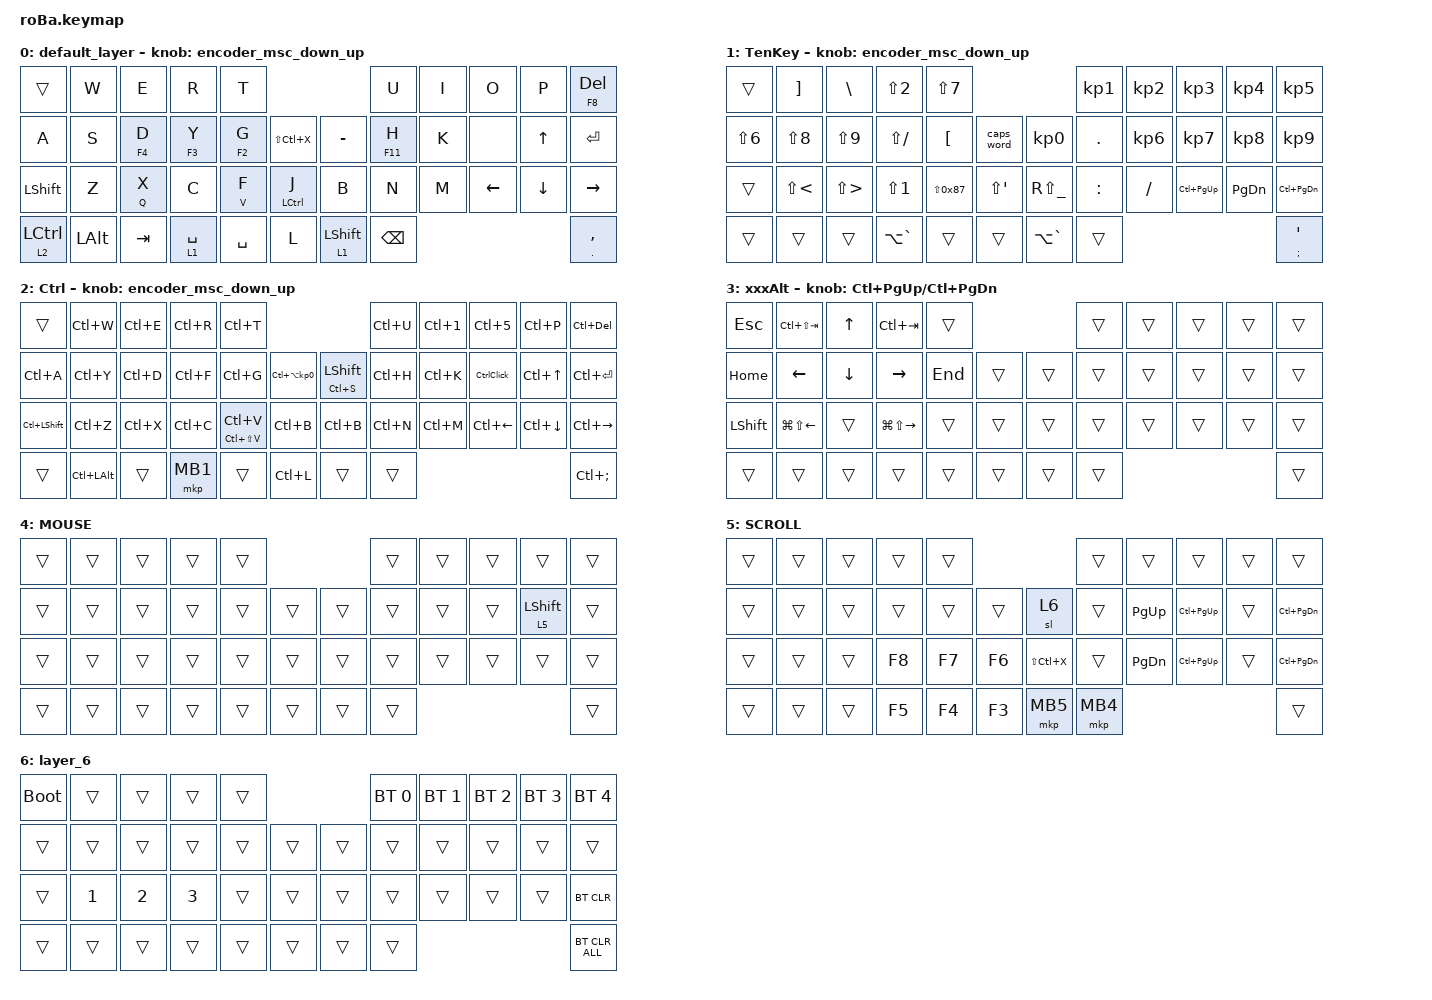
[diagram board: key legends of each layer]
// #includeのあとのあたりにスクロール量変更の定義を追記

#define ZMK_POINTING_DEFAULT_SCRL_VAL 80

// OS設定を日本語キーボードのまま使用するための変換定義

#define JP_DQUOTE       AT                // "
#define JP_AMPERSAND    CARET             // &
#define JP_QUOTE        AMPERSAND         // '
#define JP_EQUAL        UNDER             // =
#define JP_CARET        EQUAL             // ^
#define JP_YEN          0x89              // ¥
#define JP_PLUS         COLON             // +
#define JP_TILDE        PLUS              // ~
#define JP_PIPE         LS(0x89)          // |
#define JP_AT           LEFT_BRACKET      // @
#define JP_COLON        SINGLE_QUOTE      // :
#define JP_ASTERISK     DOUBLE_QUOTES     // *
#define JP_BACKQUOTE    LEFT_BRACE        // `
#define JP_UNDERSCORE   LS(0x87)          // _
#define JP_LBRACKET     RIGHT_BRACKET     // [
#define JP_RBRACKET     BACKSLASH         // ]
#define JP_LPAREN       ASTERISK          // (
#define JP_RPAREN       LEFT_PARENTHESIS  // )
#define JP_LBRACE       RIGHT_BRACE       // {
#define JP_RBRACE       PIPE              // }
#define JP_KANA         LANGUAGE_1        // かな
#define JP_EISU         LANGUAGE_2        // 英数
#define JP_HANZEN       GRAVE             // 半角/全角

// AutoMouseLayer改修(20251005)

#include <input/processors.dtsi>
#include <behaviors.dtsi>
#include <dt-bindings/zmk/bt.h>
#include <dt-bindings/zmk/keys.h>
#include <dt-bindings/zmk/pointing.h>

&mkp_input_listener { input-processors = <&zip_temp_layer 4 18000>; };//クリック後のAML滞在時間

&mt {
    flavor = "balanced";
    quick-tap-ms = <0>;
    tapping-term-ms = <600>;//長押し時間判定時間
};

&trackball {
    //automouse-layer = <4>;

    scroll-layers = <5>;

    // arrows {
    //     layers = <3>;
    //     bindings =
    //         <&kp RIGHT_ARROW>,
    //         <&kp LEFT_ARROW>,
    //         <&kp UP_ARROW>,
    //         <&kp DOWN_ARROW>;
    //     tick = <10>;
    //     wait-ms = <5>;
    //     tap-ms = <5>;
    // };
};

/ {
    combos {
        //Key番号：0,10,22,34,
        //combo名1文字はBuildエラーになる
        compatible = "zmk,combos";
        Escape {
            bindings = <&kp ESCAPE>;
            key-positions = <0>;
            require-prior-idle-ms = <500>;//直前キー押下からxx ms以内では発動無効
        };
        Click {
            bindings = <&mkp MB1>;
            key-positions = <19>;
            require-prior-idle-ms = <500>;//直前キー押下からxx ms以内では発動無効
            layers = <0>;
        };
        //LangChange {
        //    bindings = <&kp LA(GRAVE)>;
        //    key-positions = <2 10>;
        //};
        ComF1 {
            bindings = <&kp F1>;
            key-positions = <9 42>;
        };
        ComF6 {
            bindings = <&kp F6>;
            key-positions = <0 2>;
        };
        ComF7 {
            bindings = <&kp F7>;
            key-positions = <0 3>;
        };
        ComF10 {
            bindings = <&kp F10>;
            key-positions = <0 1>;
        };
        ComF5 {
            bindings = <&kp F5>;
            key-positions = <0 11>;
        };
        //ComF4 {//なぜか動かない
        //    bindings = <&kp F4>;
        //    key-positions = <0 12>;
        //};
        //ComF3 {//なぜか動かない
        //    bindings = <&kp F3>;
        //    key-positions = <0 13>;
        //};
        ComAltF4 {
            bindings = <&kp LA(F4)>;
            key-positions = <1 35>;
        };

        PrintSC1 {
            bindings = <&kp LS(LG(S))>;
            key-positions = <16 17>;
        };

        AltPrintSC {
            bindings = <&kp LA(PRINTSCREEN)>;
            key-positions = <16 28>;
        };
        Save {
            bindings = <&kp LC(S)>;
            key-positions = <16 41>;
        };

        //CtrlLeftClick {
        //    bindings = <&CtrlClick>;
        //    layers = <2>;
        //    key-positions = <19>;
        //};
        RightClick {
            bindings = <&mkp MB2>;
            key-positions = <20 21>;
        };
        Win {
            bindings = <&kp LEFT_GUI>;
            key-positions = <37 39>;
        };
        WinD {
            bindings = <&kp LG(D)>;
            key-positions = <37 38 39>;
        };
        WinLock {
            bindings = <&kp LG(L)>;
            key-positions = <27 37 39>;
        };
        Pw1 {
            bindings = <&pw1>;
            key-positions = <5 9>;
        };
        UPw2 {
            bindings = <&upw2>;
            key-positions = <11 13>;
        };
        Pw2 {
            bindings = <&pw2>;
            key-positions = <11 14>;
        };
        UPw3 {
            bindings = <&upw3>;
            key-positions = <23 25>;
        };
        Pw3 {
            bindings = <&pw3>;
            key-positions = <23 26>;
        };
        SCWM {
            bindings = <&scwm>;
            key-positions = <28 30>;
        };
        SE16N {
            bindings = <&se16n>;
            key-positions = <28 29 30>;
        };
        AutoPic {
            bindings = <&autoPic>;
            key-positions = <16 17 18>;
        };
        ShiftF12 {
            bindings = <&shiftF12>;
            key-positions = <7 9>;
        };

        //Amuhennkann {
        //    bindings = <&to_layer_0 INT_MUHENKAN>;
        //    key-positions = <11 10>;
        //};
        //ShortTapF5 {
        //    bindings = <&kp F5>;
        //    key-positions = <11 36>;
        //};
    };

    macros {
        to_layer_0: to_layer_0 {
            compatible = "zmk,behavior-macro-one-param";
            #binding-cells = <1>;
            bindings = <&to 0 &macro_param_1to1 &kp MACRO_PLACEHOLDER>;
            label = "TO_LAYER_0";
        };

        pw1: pw1 {
            compatible = "zmk,behavior-macro";
            #binding-cells = <0>;
            bindings = <&none &kp BACKSPACE &kp LS(B) &kp E &kp N &kp G &kp N9 &kp N5 &kp N4 &kp N3 &kp MINUS &kp N1 &kp N1 &kp N1 &kp ENTER>;
            label = "PW1";
        };

        pw2: pw2 {
            compatible = "zmk,behavior-macro";
            #binding-cells = <0>;
            bindings = <&none &kp BACKSPACE &kp K &kp K &kp C &kp MINUS &kp JP_AT &kp N9 &kp N5 &kp N4 &kp N3 &kp ENTER>;
            label = "PW2";
        };

        pw3: pw3 {
            compatible = "zmk,behavior-macro";
            #binding-cells = <0>;
            bindings = <&none &kp BACKSPACE &kp LS(W) &kp A &kp X &kp LS(B) &kp E &kp N &kp G &kp N9 &kp N5 &kp N4 &kp N3 &kp MINUS &kp N1 &kp N1 &kp N1 &kp ENTER>;
            label = "PW3";
        };
        upw2: upw2 {
            compatible = "zmk,behavior-macro";
            #binding-cells = <0>;
            bindings = <&none &kp BACKSPACE &kp B &kp N1 &kp N7 &kp N7 &kp N8 &kp N0 &kp TAB &kp K &kp K &kp C &kp MINUS &kp JP_AT &kp N9 &kp N5 &kp N4 &kp N3 &kp ENTER>;
            label = "UPW2";
        };

        upw3: upw3 {
            compatible = "zmk,behavior-macro";
            #binding-cells = <0>;
            bindings = <&none &kp BACKSPACE &kp K &kp I &kp K &kp U &kp C &kp H &kp H &kp N4 &kp TAB &kp LS(W) &kp A &kp X &kp LS(B) &kp E &kp N &kp G &kp N9 &kp N5 &kp N4 &kp N3 &kp MINUS &kp N1 &kp N1 &kp N1 &kp ENTER>;
            label = "UPW3";
        };
        scwm: scwm {
            compatible = "zmk,behavior-macro";
            #binding-cells = <0>;
            bindings = <&none &kp SLASH &kp N &kp SLASH &kp S &kp C &kp W &kp M &kp SLASH>;
            label = "scwm";
        };
        se16n: se16n {
            compatible = "zmk,behavior-macro";
            #binding-cells = <0>;
            bindings = <&none &kp SLASH &kp O &kp S &kp E &kp N1 &kp N6 &kp N &kp ENTER>;
            label = "se16n";
        };
        autoPic: autoPic {
            compatible = "zmk,behavior-macro";
            #binding-cells = <0>;
            bindings = <&none &sk LEFT_ALT &kp PRINTSCREEN &none &none &none &sk LEFT_ALT &kp TAB &none &none &none &none &kp LC(V) &none &none &none &none &none &kp ESCAPE &none &none &none &none &none &kp PAGE_DOWN &none &none &none &none &sk LEFT_ALT &kp TAB>;
            label = "autoPic";
        };
        CtrlClick: CtrlClick {
            compatible = "zmk,behavior-macro";
            #binding-cells = <0>;
            bindings = <&none &sk LEFT_CONTROL &mkp MB1>;
            label = "CtrlClick";
        };
        shiftF12: shiftF12 {
            compatible = "zmk,behavior-macro";
            #binding-cells = <0>;
            bindings = <&none &kp LS(F12) &none &none &none &none &none &none &none &none &none &none &none &none &kp F8>;
            label = "shiftF12";
        };
    };

    // combosやmacrosと同じ階層に以下のbihaviorsを追記
    // スクロール方向を逆にしたい場合は <&msc SCRL_DOWN> と <&msc SCRL_UP> を入れ替えてください

    behaviors {
        encoder_msc_down_up: encoder_msc_down_up {
            compatible = "zmk,behavior-sensor-rotate";
            label = "ENCODER_MSC_DOWN_UP";
            #sensor-binding-cells = <0>;
            bindings = <&msc SCRL_DOWN>, <&msc SCRL_UP>;

            tap-ms = <20>;
        };
    };

    behaviors {
        lt_to_layer_0: lt_to_layer_0 {
            compatible = "zmk,behavior-hold-tap";
            label = "LAYER_TAP_TO_0";
            bindings = <&mo>, <&to_layer_0>;

            #binding-cells = <2>;
            tapping-term-ms = <200>;
        };
    };

    behaviors {
        new_behavior: new_behavior {
            compatible = "zmk,behavior-caps-word";
            label = "NEW_BEHAVIOR";
            #binding-cells = <0>;
            mods = <(MOD_LCTL)>;
            continue-list = <A>;
        };
    };

    keymap {
        compatible = "zmk,keymap";
        default_layer {
            bindings = <
//&trans                         &mt F6 W      &mt F7 E  &mt F10 R               &mt F8 T                                                        &mt F1 Y       &kp U  &kp I           &kp O           &kp P

&trans                         &kp W         &kp E               &kp R                   &kp T                                                        &kp U         &kp I           &kp O  &kp P         &mt F8 DELETE
&kp A                          &kp S      &mt F4 D            &mt F3 Y                &mt F2 G   &kp LS(LC(X))           &kp MINUS                    &mt F11 H      &kp K  &none           &kp UP_ARROW    &kp ENTER
&kp LEFT_SHIFT              &kp Z         &mt Q X             &kp C                   &mt V F      &mt LEFT_CONTROL J      &kp B                        &kp N          &kp M  &kp LEFT_ARROW  &kp DOWN_ARROW  &kp RIGHT_ARROW
&lt_to_layer_0 2 LEFT_CONTROL  &kp LEFT_ALT  &kp TAB  &lt_to_layer_0 1 SPACE  &kp SPACE  &kp L              &lt_to_layer_0 1 LEFT_SHIFT  &kp BACKSPACE                                         &mt PERIOD COMMA
            >;

            sensor-bindings = <&encoder_msc_down_up>;
        };

        TenKey {
            bindings = <
&trans             &kp JP_LBRACKET    &kp JP_RBRACKET       &kp LS(NUMBER_2)  &kp LS(N7)                                           &kp KP_NUMBER_1  &kp KP_NUMBER_2  &kp KP_NUMBER_3  &kp KP_NUMBER_4  &kp KP_NUMBER_5
&kp LS(NUMBER_6)   &kp LS(N8)         &kp LS(N9)            &kp LS(SLASH)     &kp JP_AT          &caps_word        &kp KP_NUMBER_0  &kp PERIOD       &kp KP_NUMBER_6  &kp KP_NUMBER_7  &kp KP_NUMBER_8  &kp KP_NUMBER_9
&trans             &kp LS(LESS_THAN)  &kp LS(GREATER_THAN)  &kp LS(NUMBER_1)  &kp JP_UNDERSCORE  &kp LS(APOS)      &kp RS(UNDER)    &kp COLON        &kp SLASH        &kp LC(PAGE_UP)  &kp PAGE_DOWN    &kp LC(PAGE_DOWN)
&trans             &trans             &trans                &kp LA(GRAVE)   &trans             &trans            &kp LA(GRAVE)      &trans                                                              &mt SEMICOLON APOS
            >;

            sensor-bindings = <&encoder_msc_down_up>;
        };

        Ctrl {
            bindings = <
&trans              &kp LC(W)         &kp LC(E)  &kp LC(R)  &kp LC(T)                                                     &kp LC(U)  &kp LC(NUMBER_1)  &kp LC(NUMBER_5)    &kp LC(P)           &kp LC(DELETE)
&kp LC(A)           &kp LC(Y)         &kp LC(D)  &kp LC(F)  &kp LC(G)  &kp LC(LA(KP_NUMBER_0))      &mt LC(S) LEFT_SHIFT  &kp LC(H)         &kp LC(K)     &CtrlClick       &kp LC(UP_ARROW)    &kp LC(ENTER)
&kp LC(LEFT_SHIFT)  &kp LC(Z)         &kp LC(X)  &kp LC(C)  &mt LC(LS(V)) LC(V) &kp LC(B)                    &kp LC(B)             &kp LC(N)         &kp LC(M)  &kp LC(LEFT_ARROW)  &kp LC(DOWN_ARROW)  &kp LC(RIGHT_ARROW)
&trans              &kp LC(LEFT_ALT)  &trans     &mkp MB1     &trans     &kp LC(L)               &trans                &trans                                                                 &kp LC(SEMICOLON)
            >;

            sensor-bindings = <&encoder_msc_down_up>;
        };

        xxxAlt {
            bindings = <
&kp ESCAPE      &kp LC(LS(TAB))         &kp UP_ARROW    &kp LC(TAB)              &trans                       &trans  &trans  &trans  &trans  &trans
&kp HOME        &kp LEFT_ARROW          &kp DOWN_ARROW  &kp RIGHT_ARROW          &kp END  &trans      &trans  &trans  &trans  &trans  &trans  &trans
&kp LEFT_SHIFT  &kp LG(LS(LEFT_ARROW))  &trans          &kp LG(LS(RIGHT_ARROW))  &trans   &trans      &trans  &trans  &trans  &trans  &trans  &trans
&trans          &trans                  &trans          &trans                   &trans   &trans      &trans  &trans                          &trans
            >;

            sensor-bindings = <&inc_dec_kp LC(PAGE_UP) LC(PAGE_DOWN)>;
        };

        MOUSE {
            bindings = <
&trans  &trans  &trans  &trans  &trans                      &trans  &trans  &trans    &trans                       &trans
&trans  &trans  &trans  &trans  &trans  &trans      &trans  &trans  &trans  &trans    &lt_to_layer_0 5 LEFT_SHIFT  &trans
&trans  &trans  &trans  &trans  &trans  &trans      &trans  &trans  &trans  &trans    &trans                       &trans
&trans  &trans  &trans  &trans  &trans  &trans      &trans  &trans                                                 &trans
            >;
        };

        SCROLL {
            bindings = <
&trans  &trans  &trans  &trans  &trans                        &trans    &trans         &trans           &trans  &trans
&trans  &trans  &trans  &trans  &trans  &trans      &sl 6     &trans    &kp PAGE_UP    &kp LC(PAGE_UP)  &trans  &kp LC(PAGE_DOWN)
&trans  &trans  &trans  &kp F8  &kp F7  &kp F6      &kp LS(LC(X))    &trans    &kp PAGE_DOWN  &kp LC(PAGE_UP)  &trans  &kp LC(PAGE_DOWN)
&trans  &trans  &trans  &kp F5  &kp F4  &kp F3      &mkp MB5  &mkp MB4                                          &trans
            >;
        };

        layer_6 {
            bindings = <
&bootloader  &trans        &trans        &trans        &trans                      &bt BT_SEL 0  &bt BT_SEL 1  &bt BT_SEL 2  &bt BT_SEL 3  &bt BT_SEL 4
&trans       &trans        &trans        &trans        &trans  &trans      &trans  &trans        &trans        &trans        &trans        &trans
&trans       &kp NUMBER_1  &kp NUMBER_2  &kp NUMBER_3  &trans  &trans      &trans  &trans        &trans        &trans        &trans        &bt BT_CLR
&trans       &trans        &trans        &trans        &trans  &trans      &trans  &trans                                                  &bt BT_CLR_ALL
            >;
        };
    };
};
